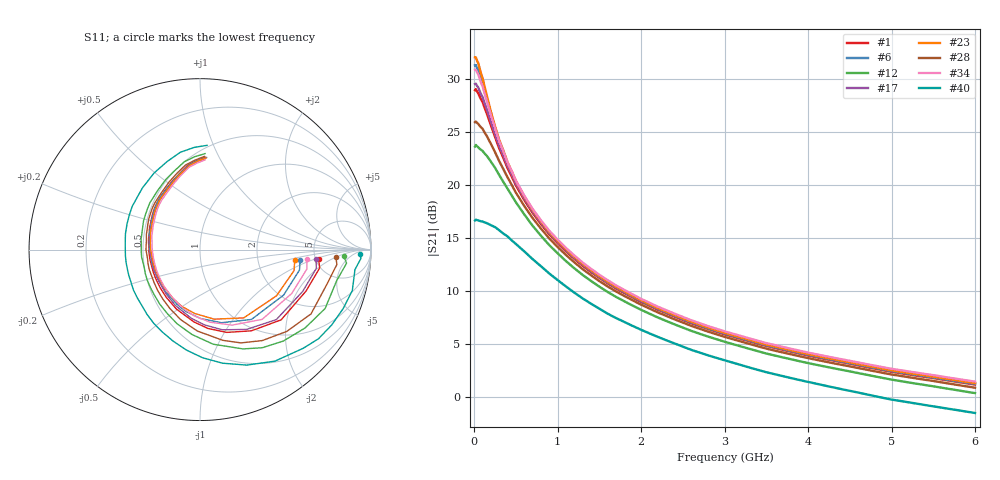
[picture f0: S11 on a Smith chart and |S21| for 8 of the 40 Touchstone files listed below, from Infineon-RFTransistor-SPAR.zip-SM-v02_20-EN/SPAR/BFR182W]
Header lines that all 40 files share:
! Infineon Technologies  Discrete & RF Semiconductors
! BFR182W
! Common Emitter S-Parameters:  Jan 2017
# GHz  S  MA  R  50
!  f  S11  S21  S12  S22
! GHz  MAG  ANG  MAG  ANG  MAG  ANG  MAG  ANG
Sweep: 10 MHz to 6 GHz
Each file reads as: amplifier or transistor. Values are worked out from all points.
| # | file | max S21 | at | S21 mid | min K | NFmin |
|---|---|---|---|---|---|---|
| 1 | BFR182W_w_noise_VCE_5.0V_IC_12mA.s2p | 29.1 dB | 20 MHz | 8.3 dB at 2.2 GHz | -0.01 | 1.14 dB |
| 2 | BFR182W_w_noise_VCE_5.0V_IC_13mA.s2p | 29.4 dB | 20 MHz | 8.3 dB at 2.2 GHz | -0.02 | 1.17 dB |
| 3 | BFR182W_w_noise_VCE_5.0V_IC_15mA.s2p | 30.1 dB | 20 MHz | 8.3 dB at 2.2 GHz | -0.04 | 1.25 dB |
| 4 | BFR182W_w_noise_VCE_5.0V_IC_17mA.s2p | 30.7 dB | 20 MHz | 8.3 dB at 2.2 GHz | 0.11 | 1.32 dB |
| 5 | BFR182W_w_noise_VCE_5.0V_IC_18mA.s2p | 30.9 dB | 10 MHz | 8.3 dB at 2.2 GHz | 0.05 | 1.34 dB |
| 6 | BFR182W_w_noise_VCE_5.0V_IC_20mA.s2p | 31.3 dB | 20 MHz | 8.3 dB at 2.2 GHz | 0.02 | 1.41 dB |
| 7 | BFR182W_w_noise_VCE_5.0V_IC_22mA.s2p | 31.7 dB | 10 MHz | 8.3 dB at 2.2 GHz | 0.17 | 1.47 dB |
| 8 | BFR182W_w_noise_VCE_5.0V_IC_23mA.s2p | 31.8 dB | 20 MHz | 8.3 dB at 2.2 GHz | 0.01 | 1.50 dB |
| 9 | BFR182W_w_noise_VCE_5.0V_IC_25mA.s2p | 32.1 dB | 20 MHz | 8.2 dB at 2.2 GHz | 0.07 | 1.56 dB |
| 10 | BFR182W_w_noise_VCE_6.0V_IC_2.0mA.s2p | 16.7 dB | 20 MHz | 5.6 dB at 2.2 GHz | -0.07 | 0.85 dB |
| 11 | BFR182W_w_noise_VCE_6.0V_IC_3.0mA.s2p | 20.0 dB | 20 MHz | 6.6 dB at 2.2 GHz | -0.06 | 0.82 dB |
| 12 | BFR182W_w_noise_VCE_6.0V_IC_5.0mA.s2p | 23.8 dB | 20 MHz | 7.5 dB at 2.2 GHz | -0.10 | 0.88 dB |
| 13 | BFR182W_w_noise_VCE_6.0V_IC_7.0mA.s2p | 26.0 dB | 20 MHz | 7.9 dB at 2.2 GHz | -0.04 | 0.95 dB |
| 14 | BFR182W_w_noise_VCE_6.0V_IC_8.0mA.s2p | 26.8 dB | 20 MHz | 8.1 dB at 2.2 GHz | -0.02 | 1.00 dB |
| 15 | BFR182W_w_noise_VCE_6.0V_IC_10mA.s2p | 28.2 dB | 20 MHz | 8.2 dB at 2.2 GHz | 0.02 | 1.07 dB |
| 16 | BFR182W_w_noise_VCE_6.0V_IC_12mA.s2p | 29.2 dB | 20 MHz | 8.3 dB at 2.2 GHz | -0.05 | 1.14 dB |
| 17 | BFR182W_w_noise_VCE_6.0V_IC_13mA.s2p | 29.6 dB | 20 MHz | 8.4 dB at 2.2 GHz | -0.06 | 1.17 dB |
| 18 | BFR182W_w_noise_VCE_6.0V_IC_15mA.s2p | 30.3 dB | 20 MHz | 8.4 dB at 2.2 GHz | -0.04 | 1.25 dB |
| 19 | BFR182W_w_noise_VCE_6.0V_IC_17mA.s2p | 30.9 dB | 20 MHz | 8.5 dB at 2.2 GHz | 0.07 | 1.32 dB |
| 20 | BFR182W_w_noise_VCE_6.0V_IC_18mA.s2p | 31.1 dB | 20 MHz | 8.5 dB at 2.2 GHz | 0.00 | 1.34 dB |
| 21 | BFR182W_w_noise_VCE_6.0V_IC_20mA.s2p | 31.5 dB | 20 MHz | 8.5 dB at 2.2 GHz | 0.10 | 1.41 dB |
| 22 | BFR182W_w_noise_VCE_6.0V_IC_22mA.s2p | 31.9 dB | 20 MHz | 8.4 dB at 2.2 GHz | 0.11 | 1.47 dB |
| 23 | BFR182W_w_noise_VCE_6.0V_IC_23mA.s2p | 32.1 dB | 10 MHz | 8.4 dB at 2.2 GHz | 0.03 | 1.50 dB |
| 24 | BFR182W_w_noise_VCE_6.0V_IC_25mA.s2p | 32.4 dB | 20 MHz | 8.4 dB at 2.2 GHz | 0.06 | 1.56 dB |
| 25 | BFR182W_w_noise_VCE_7.0V_IC_2.0mA.s2p | 16.8 dB | 20 MHz | 5.6 dB at 2.2 GHz | -0.10 | 0.85 dB |
| 26 | BFR182W_w_noise_VCE_7.0V_IC_3.0mA.s2p | 20.0 dB | 20 MHz | 6.7 dB at 2.2 GHz | -0.04 | 0.82 dB |
| 27 | BFR182W_w_noise_VCE_7.0V_IC_5.0mA.s2p | 23.7 dB | 20 MHz | 7.6 dB at 2.2 GHz | -0.03 | 0.88 dB |
| 28 | BFR182W_w_noise_VCE_7.0V_IC_7.0mA.s2p | 26.0 dB | 20 MHz | 8.0 dB at 2.2 GHz | 0.03 | 0.95 dB |
| 29 | BFR182W_w_noise_VCE_7.0V_IC_8.0mA.s2p | 26.9 dB | 20 MHz | 8.1 dB at 2.2 GHz | -0.03 | 1.00 dB |
| 30 | BFR182W_w_noise_VCE_7.0V_IC_10mA.s2p | 28.2 dB | 20 MHz | 8.3 dB at 2.2 GHz | -0.09 | 1.07 dB |
| 31 | BFR182W_w_noise_VCE_7.0V_IC_12mA.s2p | 29.2 dB | 20 MHz | 8.4 dB at 2.2 GHz | -0.02 | 1.14 dB |
| 32 | BFR182W_w_noise_VCE_7.0V_IC_13mA.s2p | 29.6 dB | 20 MHz | 8.5 dB at 2.2 GHz | -0.09 | 1.17 dB |
| 33 | BFR182W_w_noise_VCE_7.0V_IC_15mA.s2p | 30.4 dB | 20 MHz | 8.5 dB at 2.2 GHz | 0.11 | 1.25 dB |
| 34 | BFR182W_w_noise_VCE_7.0V_IC_17mA.s2p | 30.9 dB | 20 MHz | 8.5 dB at 2.2 GHz | 0.01 | 1.32 dB |
| 35 | BFR182W_w_noise_VCE_7.0V_IC_18mA.s2p | 31.2 dB | 20 MHz | 8.5 dB at 2.2 GHz | 0.03 | 1.34 dB |
| 36 | BFR182W_w_noise_VCE_7.0V_IC_20mA.s2p | 31.6 dB | 20 MHz | 8.5 dB at 2.2 GHz | 0.00 | 1.41 dB |
| 37 | BFR182W_w_noise_VCE_7.0V_IC_22mA.s2p | 32.0 dB | 10 MHz | 8.5 dB at 2.2 GHz | 0.08 | 1.47 dB |
| 38 | BFR182W_w_noise_VCE_7.0V_IC_23mA.s2p | 32.1 dB | 10 MHz | 8.5 dB at 2.2 GHz | 0.03 | 1.50 dB |
| 39 | BFR182W_w_noise_VCE_7.0V_IC_25mA.s2p | 32.4 dB | 10 MHz | 8.5 dB at 2.2 GHz | 0.08 | 1.56 dB |
| 40 | BFR182W_w_noise_VCE_8.0V_IC_2.0mA.s2p | 16.7 dB | 20 MHz | 5.7 dB at 2.2 GHz | -0.04 | 0.85 dB |

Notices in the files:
Hoja de datos/BFP 450/Infineon-RFTransistor-SPAR.zip-SM-v02_20-EN/SPAR/BFR182W/BFR182W_w_noise_VCE_5.0V_IC_12mA.s2p:
(c) 2017  Infineon Technologies AG, Munich
